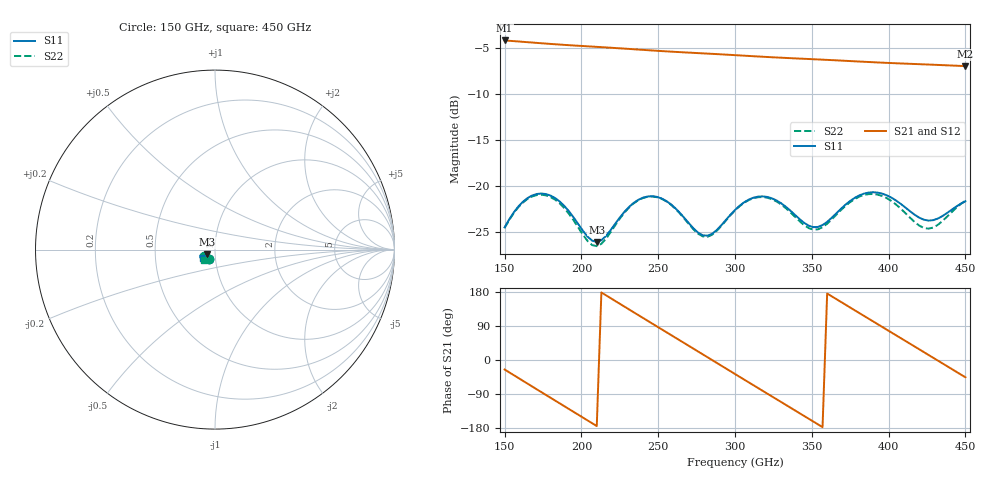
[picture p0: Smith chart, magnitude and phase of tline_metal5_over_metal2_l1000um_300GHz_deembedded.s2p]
! Created with skrf 2.2.0 (http://scikit-rf.org).
# GHz S DB R 50.0
! Port[1] = P1
! Port[2] = P2
!freq dBS11 angS11 dBS21 angS21 dBS12 angS12 dBS22 angS22
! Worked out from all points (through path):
!   101 points, 150 GHz to 450 GHz, reference 50 ohm
!   highest |S21| = -4.16 dB at 150 GHz (marker M1); lowest = -6.9 dB at 450 GHz (marker M2)
!   group delay of S21, straight-line fit = 6.85 ps
!   lowest |S11| = -26.1 dB at 210 GHz (marker M3), VSWR 1.10, Z = 45.9 - j2.47 ohm
!   |S11| at or under -10 dB: start of sweep to end of sweep
!   |S22| runs from -26.5 to -20.9 dB; largest |S21 - S12| = 6.5e-14
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150  -24.48 -121.7  -4.16 -25.0  -4.16 -25.0  -24.54 -122.4
162  -21.68 -129.1  -4.31 -55.1  -4.31 -55.1  -21.76 -129.8
174  -20.80 -144.2  -4.46 -85.0  -4.46 -85.0  -20.92 -145.1
186  -21.68 -158.4  -4.61 -114.8  -4.61 -114.8  -21.89 -159.4
201  -24.85 -161.5  -4.76 -152.0  -4.76 -152.0  -25.28 -162.0
210  -26.06 -147.4  -4.85 -174.3  -4.85 -174.3  -26.52 -146.1
222  -24.09 -132.4  -4.98 155.8  -4.98 155.8  -24.25 -130.2
234  -21.82 -136.9  -5.11 126.1  -5.11 126.1  -21.87 -135.4
252  -21.32 -155.1  -5.31 81.6  -5.31 81.6  -21.36 -154.3
276  -25.05 -157.0  -5.53 22.4  -5.53 22.4  -25.17 -156.4
288  -24.79 -139.7  -5.64 -7.3  -5.64 -7.3  -24.88 -138.7
300  -22.59 -136.1  -5.75 -37.0  -5.75 -37.0  -22.64 -135.3
312  -21.25 -144.1  -5.87 -66.5  -5.87 -66.5  -21.30 -143.5
324  -21.32 -154.5  -5.98 -96.0  -5.98 -96.0  -21.41 -154.2
336  -22.65 -160.4  -6.08 -125.5  -6.08 -125.5  -22.83 -160.2
351  -24.45 -150.8  -6.20 -162.4  -6.20 -162.4  -24.72 -149.7
366  -22.94 -137.7  -6.32 160.6  -6.32 160.6  -23.10 -136.1
381  -21.00 -143.1  -6.45 123.7  -6.45 123.7  -21.13 -142.1
402  -21.26 -158.9  -6.62 72.2  -6.62 72.2  -21.63 -158.6
426  -23.74 -152.7  -6.78 13.3  -6.78 13.3  -24.61 -147.6
438  -22.92 -144.2  -6.86 -16.1  -6.86 -16.1  -23.32 -135.8
450  -21.64 -145.5  -6.95 -45.6  -6.95 -45.6  -21.57 -136.9
